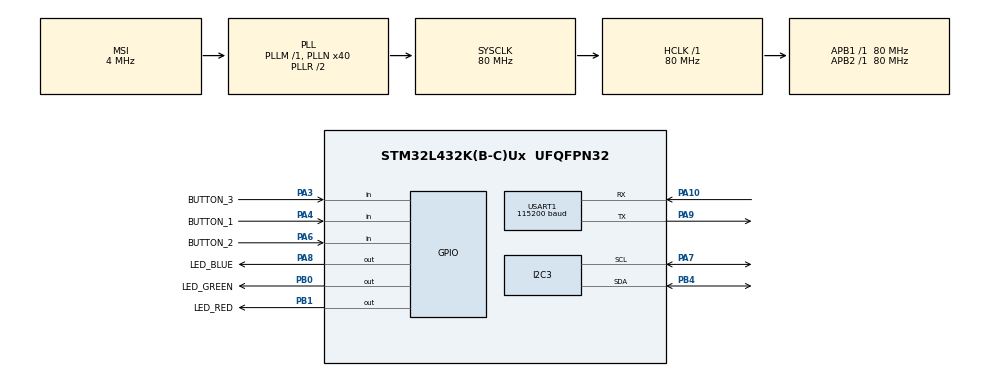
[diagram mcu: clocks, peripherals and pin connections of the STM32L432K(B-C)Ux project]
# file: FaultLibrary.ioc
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I2C3.Timing=0x10909CEC
Mcu.Family=STM32L4
Mcu.Name=STM32L432K(B-C)Ux
Mcu.Package=UFQFPN32
NVIC.PriorityGroup=NVIC_PRIORITYGROUP_4
PA10.Mode=Asynchronous
PA10.Signal=USART1_RX
PA13\ (JTMS-SWDIO).Mode=Serial_Wire
PA13\ (JTMS-SWDIO).Signal=SYS_JTMS-SWDIO
PA14\ (JTCK-SWCLK).Mode=Serial_Wire
PA14\ (JTCK-SWCLK).Signal=SYS_JTCK-SWCLK
PA3.GPIO_Label=BUTTON_3
PA3.GPIO_PuPd=GPIO_PULLDOWN
PA3.Signal=GPIO_Input
PA4.GPIO_Label=BUTTON_1
PA4.GPIO_PuPd=GPIO_PULLDOWN
PA4.Signal=GPIO_Input
PA6.GPIO_Label=BUTTON_2
PA6.GPIO_PuPd=GPIO_PULLDOWN
PA6.Signal=GPIO_Input
PA7.Mode=I2C
PA7.Signal=I2C3_SCL
PA8.GPIO_Label=LED_BLUE
PA8.Signal=GPIO_Output
PA9.Mode=Asynchronous
PA9.Signal=USART1_TX
PB0.GPIO_Label=LED_GREEN
PB0.Signal=GPIO_Output
PB1.GPIO_Label=LED_RED
PB1.Signal=GPIO_Output
PB4\ (NJTRST).Mode=I2C
PB4\ (NJTRST).Signal=I2C3_SDA
ProjectManager.HeapSize=0x200
ProjectManager.StackSize=0x400
ProjectManager.TargetToolchain=SW4STM32
RCC.ADCFreq_Value=48000000
RCC.AHBFreq_Value=80000000
RCC.APB1Freq_Value=80000000
RCC.APB1TimFreq_Value=80000000
RCC.APB2Freq_Value=80000000
RCC.APB2TimFreq_Value=80000000
RCC.CortexFreq_Value=80000000
RCC.HCLKFreq_Value=80000000
RCC.HSE_VALUE=8000000
RCC.HSI48_VALUE=48000000
RCC.HSI_VALUE=16000000
RCC.LSE_VALUE=32768
RCC.MSI_VALUE=4000000
RCC.PLLN=40
RCC.PLLSAI1N=24
RCC.SYSCLKFreq_VALUE=80000000
RCC.SYSCLKSource=RCC_SYSCLKSOURCE_PLLCLK
RCC.USBFreq_Value=48000000
RCC.VCOOutputFreq_Value=160000000
USART1.BaudRate=115200
USART1.VirtualMode-Asynchronous=VM_ASYNC
board=custom

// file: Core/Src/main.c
/* USER CODE BEGIN Header */
/**
  ******************************************************************************
  * @file           : main.c
  * @brief          : Main program body
  ******************************************************************************
  * @attention
  *
  * <h2><center>&copy; Copyright (c) 2021 STMicroelectronics.
  * All rights reserved.</center></h2>
  *
  * This software component is licensed by ST under BSD 3-Clause license,
  * the "License"; You may not use this file except in compliance with the
  * License. You may obtain a copy of the License at:
  *                        opensource.org/licenses/BSD-3-Clause
  *
  ******************************************************************************
  */
/* USER CODE END Header */
#include "main.h"

/* USER CODE BEGIN Includes */
#include "fault_library.h"
#include "eeprom.h"
#include "fault_test.h"
/* USER CODE END Includes */

I2C_HandleTypeDef hi2c3;

UART_HandleTypeDef huart1;

void SystemClock_Config(void);
static void MX_GPIO_Init(void);
static void MX_USART1_UART_Init(void);
static void MX_I2C3_Init(void);
/* USER CODE BEGIN PFP */
void buttonCheckerTask();
/* USER CODE END PFP */

/* USER CODE BEGIN 0 */
uint8_t run;
uint32_t loop;

void TIM2_IRQHandler()
{
    TIM2->SR &= ~TIM_SR_UIF;                                        // Acknowledge the interrupt
    run = 1;                                                        // Signal main loop to process
    loop++;
   // if (++loop > 5000)                                               // Wrap when close to 255 to prevent jitter
   // {
   //     loop = 1;                                                   // Reset loop value
   // }
}

void handleCriticalFault() {
  setLightRed();
}

void handleErrorFault() {
  setLightBlue();
}

/* USER CODE END 0 */

int main(void)
{

  /* MCU Configuration--------------------------------------------------------*/

  /* Reset of all peripherals, Initializes the Flash interface and the Systick. */
  HAL_Init();

  /* Configure the system clock */
  SystemClock_Config();

  /* Initialize all configured peripherals */
  MX_GPIO_Init();
  MX_USART1_UART_Init();
  MX_I2C3_Init();
  /* USER CODE BEGIN 2 */

  RCC->APB1ENR1 |= RCC_APB1ENR1_TIM2EN;   // Enable timer clock in RCC
  TIM2->PSC = 8000 - 1; // AHB2 is configured at 80Mhz
  TIM2->ARR = 100;
  TIM2->CR1 &= ~(TIM_CR1_DIR);
  TIM2->DIER |= TIM_DIER_UIE;
  NVIC->ISER[0] |= 1 << TIM2_IRQn;
  TIM2->CR1 |= TIM_CR1_CEN;

  eepromInitialize(&hi2c3, 4000, 0x50);
  eepromLinkStruct(&(faults.stored), sizeof(fault_stored_t), FAULT_EEPROM_NAME, 2, 1);
  eepromCleanHeaders();

  faultLibInitialize();

  /* USER CODE END 2 */

  /* Infinite loop */
  while (1)
  {

    /* USER CODE BEGIN 3 */

    if(loop % (BUTTON_PERIOD / 10) == 0)
    {
      buttonCheckerTask();
    }

    if (loop % (FAULT_LIB_PERIOD / 10) == 0)
    {
      faultLibUpdate();
    }

    if (loop % 100 == 0)
    {
      HAL_GPIO_TogglePin(LED_GREEN_GPIO_Port, LED_GREEN_Pin);
    }

    while(!run); // loop is ran every 10 ms
    run = 0;
  }
  /* USER CODE END 3 */
}

void SystemClock_Config(void)
{
  RCC_OscInitTypeDef RCC_OscInitStruct = {0};
  RCC_ClkInitTypeDef RCC_ClkInitStruct = {0};
  RCC_PeriphCLKInitTypeDef PeriphClkInit = {0};

  /** Initializes the RCC Oscillators according to the specified parameters
  * in the RCC_OscInitTypeDef structure.
  */
  RCC_OscInitStruct.OscillatorType = RCC_OSCILLATORTYPE_MSI;
  RCC_OscInitStruct.MSIState = RCC_MSI_ON;
  RCC_OscInitStruct.MSICalibrationValue = 0;
  RCC_OscInitStruct.MSIClockRange = RCC_MSIRANGE_6;
  RCC_OscInitStruct.PLL.PLLState = RCC_PLL_ON;
  RCC_OscInitStruct.PLL.PLLSource = RCC_PLLSOURCE_MSI;
  RCC_OscInitStruct.PLL.PLLM = 1;
  RCC_OscInitStruct.PLL.PLLN = 40;
  RCC_OscInitStruct.PLL.PLLP = RCC_PLLP_DIV7;
  RCC_OscInitStruct.PLL.PLLQ = RCC_PLLQ_DIV2;
  RCC_OscInitStruct.PLL.PLLR = RCC_PLLR_DIV2;
  if (HAL_RCC_OscConfig(&RCC_OscInitStruct) != HAL_OK)
  {
    Error_Handler();
  }
  /** Initializes the CPU, AHB and APB buses clocks
  */
  RCC_ClkInitStruct.ClockType = RCC_CLOCKTYPE_HCLK|RCC_CLOCKTYPE_SYSCLK
                              |RCC_CLOCKTYPE_PCLK1|RCC_CLOCKTYPE_PCLK2;
  RCC_ClkInitStruct.SYSCLKSource = RCC_SYSCLKSOURCE_PLLCLK;
  RCC_ClkInitStruct.AHBCLKDivider = RCC_SYSCLK_DIV1;
  RCC_ClkInitStruct.APB1CLKDivider = RCC_HCLK_DIV1;
  RCC_ClkInitStruct.APB2CLKDivider = RCC_HCLK_DIV1;

  if (HAL_RCC_ClockConfig(&RCC_ClkInitStruct, FLASH_LATENCY_4) != HAL_OK)
  {
    Error_Handler();
  }
  PeriphClkInit.PeriphClockSelection = RCC_PERIPHCLK_USART1|RCC_PERIPHCLK_I2C3;
  PeriphClkInit.Usart1ClockSelection = RCC_USART1CLKSOURCE_PCLK2;
  PeriphClkInit.I2c3ClockSelection = RCC_I2C3CLKSOURCE_PCLK1;
  if (HAL_RCCEx_PeriphCLKConfig(&PeriphClkInit) != HAL_OK)
  {
    Error_Handler();
  }
  /** Configure the main internal regulator output voltage
  */
  if (HAL_PWREx_ControlVoltageScaling(PWR_REGULATOR_VOLTAGE_SCALE1) != HAL_OK)
  {
    Error_Handler();
  }
}

static void MX_I2C3_Init(void)
{

  hi2c3.Instance = I2C3;
  hi2c3.Init.Timing = 0x10909CEC;
  hi2c3.Init.OwnAddress1 = 0;
  hi2c3.Init.AddressingMode = I2C_ADDRESSINGMODE_7BIT;
  hi2c3.Init.DualAddressMode = I2C_DUALADDRESS_DISABLE;
  hi2c3.Init.OwnAddress2 = 0;
  hi2c3.Init.OwnAddress2Masks = I2C_OA2_NOMASK;
  hi2c3.Init.GeneralCallMode = I2C_GENERALCALL_DISABLE;
  hi2c3.Init.NoStretchMode = I2C_NOSTRETCH_DISABLE;
  if (HAL_I2C_Init(&hi2c3) != HAL_OK)
  {
    Error_Handler();
  }
  /** Configure Analogue filter
  */
  if (HAL_I2CEx_ConfigAnalogFilter(&hi2c3, I2C_ANALOGFILTER_ENABLE) != HAL_OK)
  {
    Error_Handler();
  }
  /** Configure Digital filter
  */
  if (HAL_I2CEx_ConfigDigitalFilter(&hi2c3, 0) != HAL_OK)
  {
    Error_Handler();
  }

}

static void MX_USART1_UART_Init(void)
{

  huart1.Instance = USART1;
  huart1.Init.BaudRate = 115200;
  huart1.Init.WordLength = UART_WORDLENGTH_8B;
  huart1.Init.StopBits = UART_STOPBITS_1;
  huart1.Init.Parity = UART_PARITY_NONE;
  huart1.Init.Mode = UART_MODE_TX_RX;
  huart1.Init.HwFlowCtl = UART_HWCONTROL_NONE;
  huart1.Init.OverSampling = UART_OVERSAMPLING_16;
  huart1.Init.OneBitSampling = UART_ONE_BIT_SAMPLE_DISABLE;
  huart1.AdvancedInit.AdvFeatureInit = UART_ADVFEATURE_NO_INIT;
  if (HAL_UART_Init(&huart1) != HAL_OK)
  {
    Error_Handler();
  }

}

static void MX_GPIO_Init(void)
{
  GPIO_InitTypeDef GPIO_InitStruct = {0};

  /* GPIO Ports Clock Enable */
  __HAL_RCC_GPIOA_CLK_ENABLE();
  __HAL_RCC_GPIOB_CLK_ENABLE();

  /*Configure GPIO pin Output Level */
  HAL_GPIO_WritePin(GPIOB, LED_GREEN_Pin|LED_RED_Pin, GPIO_PIN_RESET);

  /*Configure GPIO pin Output Level */
  HAL_GPIO_WritePin(LED_BLUE_GPIO_Port, LED_BLUE_Pin, GPIO_PIN_RESET);

  /*Configure GPIO pins : BUTTON_3_Pin BUTTON_1_Pin BUTTON_2_Pin */
  GPIO_InitStruct.Pin = BUTTON_3_Pin|BUTTON_1_Pin|BUTTON_2_Pin;
  GPIO_InitStruct.Mode = GPIO_MODE_INPUT;
  GPIO_InitStruct.Pull = GPIO_PULLDOWN;
  HAL_GPIO_Init(GPIOA, &GPIO_InitStruct);

  /*Configure GPIO pins : LED_GREEN_Pin LED_RED_Pin */
  GPIO_InitStruct.Pin = LED_GREEN_Pin|LED_RED_Pin;
  GPIO_InitStruct.Mode = GPIO_MODE_OUTPUT_PP;
  GPIO_InitStruct.Pull = GPIO_NOPULL;
  GPIO_InitStruct.Speed = GPIO_SPEED_FREQ_LOW;
  HAL_GPIO_Init(GPIOB, &GPIO_InitStruct);

  /*Configure GPIO pin : LED_BLUE_Pin */
  GPIO_InitStruct.Pin = LED_BLUE_Pin;
  GPIO_InitStruct.Mode = GPIO_MODE_OUTPUT_PP;
  GPIO_InitStruct.Pull = GPIO_NOPULL;
  GPIO_InitStruct.Speed = GPIO_SPEED_FREQ_LOW;
  HAL_GPIO_Init(LED_BLUE_GPIO_Port, &GPIO_InitStruct);

}

/* USER CODE BEGIN 4 */
void buttonCheckerTask()
{
    if (HAL_GPIO_ReadPin(BUTTON_1_GPIO_Port, BUTTON_1_Pin) &&
        HAL_GPIO_ReadPin(BUTTON_2_GPIO_Port, BUTTON_2_Pin))
    {
      eepromDump(huart1);
    }
    else if (HAL_GPIO_ReadPin(BUTTON_1_GPIO_Port, BUTTON_1_Pin))
    {
      signalFault(BUTTON_1_FAULT_NUM);
    }
    else if (HAL_GPIO_ReadPin(BUTTON_2_GPIO_Port, BUTTON_2_Pin))
    {
      signalFault(BUTTON_2_FAULT_NUM);
    }
    if (HAL_GPIO_ReadPin(BUTTON_3_GPIO_Port, BUTTON_3_Pin))
    {
      faultLibShutdown();
      setLightOff();
    }
}
/* USER CODE END 4 */

void Error_Handler(void)
{
}

/************************ (C) COPYRIGHT STMicroelectronics *****END OF FILE****/
